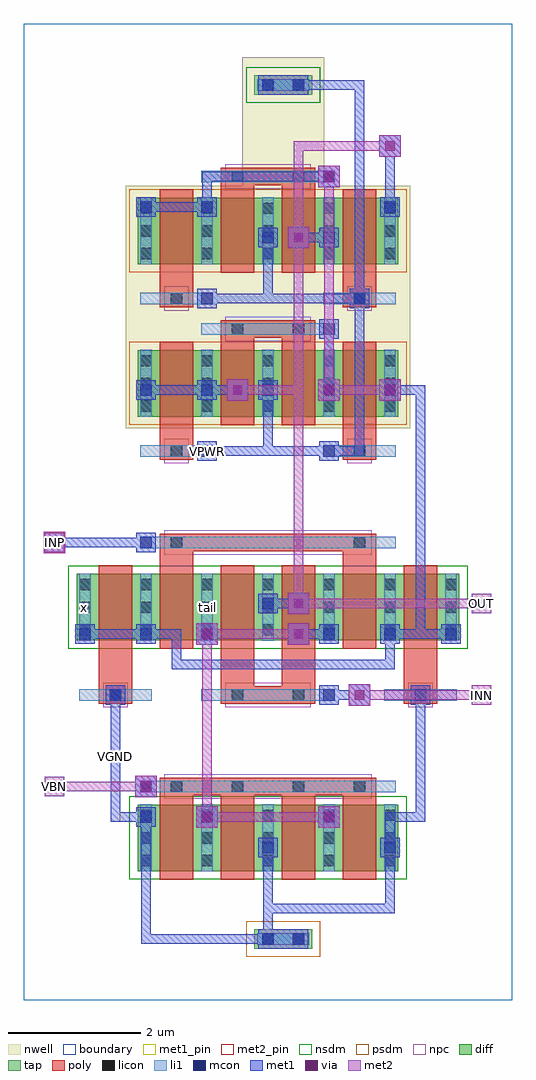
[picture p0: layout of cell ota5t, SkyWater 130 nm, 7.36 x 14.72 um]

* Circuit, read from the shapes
.subckt ota5t INN INP OUT VBN VGND VPWR tail x
XM1 x VGND x VGND sky130_fd_pr__nfet_01v8 w=1 l=0.5 m=2
XM2 tail VBN VGND VGND sky130_fd_pr__nfet_01v8 w=1 l=0.5 m=4
XM3 tail INP x VGND sky130_fd_pr__nfet_01v8 w=1 l=0.5 m=2
XM4 OUT INN tail VGND sky130_fd_pr__nfet_01v8 w=1 l=0.5 m=2
XM5 OUT VPWR OUT VPWR sky130_fd_pr__pfet_01v8 w=1 l=0.5 m=2
XM6 x VPWR x VPWR sky130_fd_pr__pfet_01v8 w=1 l=0.5 m=2
XM7 VPWR x OUT VPWR sky130_fd_pr__pfet_01v8 w=1 l=0.5 m=2
XM8 VPWR x x VPWR sky130_fd_pr__pfet_01v8 w=1 l=0.5 m=2
.ends

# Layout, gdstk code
import gdstk
lib = gdstk.Library(unit=1e-6, precision=1e-09)
def R(c, l, rs):  # rectangles x0, y0, x1, y1
    for r in rs: c.add(gdstk.rectangle(r[:2], r[2:], *l))
def A(c, l, x, y, w, h, nx, ny, dx, dy):  # array of equal rectangles
    R(c, l, [(x+i*dx, y+j*dy, x+i*dx+w, y+j*dy+h) for i in range(nx) for j in range(ny)])
nwell = (64, 20)
diff = (65, 20)
tap = (65, 44)
poly = (66, 20)
licon = (66, 44)
li1 = (67, 20)
mcon = (67, 44)
met1_pin = (68, 16)
met1 = (68, 20)
via = (68, 44)
met2_pin = (69, 16)
met2 = (69, 20)
nsdm = (93, 44)
psdm = (94, 20)
npc = (95, 20)
boundary = (235, 4)

ota5t = lib.new_cell('ota5t')
R(ota5t, nwell, [(1.535,8.62,5.825,12.28), (3.295,12.28,4.525,14.22)])
R(ota5t, diff, [(1.715,1.945,5.645,2.945), (0.795,5.425,6.565,6.425), (1.715,8.8,5.645,9.8), (1.715,11.1,5.645,12.1)])
R(ota5t, tap, [(3.475,0.775,4.345,1.065), (3.475,13.655,4.345,13.945)])
A(ota5t, poly, 2.05, 1.815, 0.5, 1.405, 4, 1, 0.92, 0)
R(ota5t, poly, [(2.05,3.085,5.31,3.355), (1.13,4.465,1.63,4.735), (2.97,4.465,4.39,4.735), (5.73,4.465,6.23,4.735), (1.13,4.6,1.63,6.555), (2.97,4.6,3.47,6.555), (3.89,4.6,4.39,6.555), (5.73,4.6,6.23,6.555), (2.05,5.295,2.55,6.9), (4.81,5.295,5.31,6.9), (2.05,6.765,5.31,7.035), (2.05,8.145,2.55,8.415), (4.81,8.145,5.31,8.415), (2.05,8.28,2.55,9.93), (4.81,8.28,5.31,9.93), (2.97,8.67,3.47,10.12), (3.89,8.67,4.39,10.12), (2.97,9.985,4.39,10.255), (2.05,10.445,2.55,10.715), (4.81,10.445,5.31,10.715), (2.05,10.58,2.55,12.23), (4.81,10.58,5.31,12.23), (2.97,10.97,3.47,12.42), (3.89,10.97,4.39,12.42), (2.97,12.285,4.39,12.555)])
A(ota5t, licon, 1.755, 2.02, 0.17, 0.17, 5, 3, 0.92, 0.34)
A(ota5t, licon, 2.215, 3.135, 0.17, 0.17, 4, 1, 0.92, 0)
A(ota5t, licon, 0.835, 5.5, 0.17, 0.17, 7, 3, 0.92, 0.34)
A(ota5t, licon, 1.755, 8.875, 0.17, 0.17, 5, 3, 0.92, 0.34)
A(ota5t, licon, 1.755, 11.175, 0.17, 0.17, 5, 3, 0.92, 0.34)
R(ota5t, licon, [(3.595,0.835,3.765,1.005), (4.055,0.835,4.225,1.005), (1.295,4.515,1.465,4.685), (3.135,4.515,3.305,4.685), (4.055,4.515,4.225,4.685), (5.895,4.515,6.065,4.685), (2.215,6.815,2.385,6.985), (4.975,6.815,5.145,6.985), (2.215,8.195,2.385,8.365), (4.975,8.195,5.145,8.365), (3.135,10.035,3.305,10.205), (4.055,10.035,4.225,10.205), (2.215,10.495,2.385,10.665), (4.975,10.495,5.145,10.665), (3.135,12.335,3.305,12.505), (4.055,12.335,4.225,12.505), (3.595,13.715,3.765,13.885), (4.055,13.715,4.225,13.885)])
A(ota5t, li1, 1.755, 1.94, 0.17, 1.01, 5, 2, 0.92, 6.855)
A(ota5t, li1, 0.835, 5.42, 0.17, 1.01, 7, 1, 0.92, 0)
A(ota5t, li1, 1.755, 11.095, 0.17, 1.01, 5, 1, 0.92, 0)
R(ota5t, li1, [(3.515,0.835,4.305,1.005), (1.755,3.135,5.605,3.305), (0.835,4.515,1.925,4.685), (2.675,4.515,4.685,4.685), (5.435,4.515,6.525,4.685), (1.755,6.815,5.605,6.985), (1.755,8.195,2.845,8.365), (4.515,8.195,5.605,8.365), (2.675,10.035,4.685,10.205), (1.755,10.495,2.845,10.665), (4.515,10.495,5.605,10.665), (2.675,12.335,4.685,12.505), (3.515,13.715,4.305,13.885)])
A(ota5t, mcon, 0.835, 5.435, 0.17, 0.17, 3, 1, 0.92, 0)
A(ota5t, mcon, 4.515, 5.435, 0.17, 0.17, 3, 1, 0.92, 0)
A(ota5t, mcon, 1.755, 9.115, 0.17, 0.17, 5, 1, 0.92, 0)
R(ota5t, mcon, [(3.595,0.835,3.765,1.005), (4.055,0.835,4.225,1.005), (3.595,2.215,3.765,2.385), (5.435,2.215,5.605,2.385), (1.755,2.675,1.925,2.845), (2.675,2.675,2.845,2.845), (4.515,2.675,4.685,2.845), (1.755,3.135,1.925,3.305), (1.295,4.515,1.465,4.685), (4.515,4.515,4.685,4.685), (5.895,4.515,6.065,4.685), (3.595,5.895,3.765,6.065), (1.755,6.815,1.925,6.985), (2.675,8.195,2.845,8.365), (4.515,8.195,4.685,8.365), (4.515,10.035,4.685,10.205), (2.675,10.495,2.845,10.665), (4.975,10.495,5.145,10.665), (3.595,11.415,3.765,11.585), (4.515,11.415,4.685,11.585), (1.755,11.875,1.925,12.045), (2.675,11.875,2.845,12.045), (5.435,11.875,5.605,12.045), (4.515,12.335,4.685,12.505), (3.595,13.715,3.765,13.885), (4.055,13.715,4.225,13.885)])
R(ota5t, met1_pin, [(1.31,2.69,1.45,4.67), (2.615,8.135,2.905,8.425)])
A(ota5t, met1, 0.775, 5.375, 0.29, 0.29, 3, 1, 0.92, 0)
A(ota5t, met1, 4.455, 5.375, 0.29, 0.29, 3, 1, 0.92, 0)
A(ota5t, met1, 1.695, 9.055, 0.29, 0.29, 5, 1, 0.92, 0)
R(ota5t, met1, [(3.535,0.775,4.285,1.065), (1.77,0.85,1.91,2.83), (1.77,0.85,3.75,0.99), (3.61,0.85,3.75,0.99), (3.61,0.85,3.75,2.37), (3.61,1.31,5.59,1.45), (5.45,1.31,5.59,2.37), (3.535,2.155,3.825,2.445), (5.375,2.155,5.665,2.445), (5.45,2.23,5.59,2.83), (2.6,2.6,2.92,2.92), (4.44,2.6,4.76,2.92), (1.695,2.615,1.985,2.905), (2.615,2.615,2.905,2.905), (4.455,2.615,4.745,2.905), (1.31,2.69,1.91,2.83), (1.31,2.69,1.45,4.67), (5.45,2.69,6.05,2.83), (5.91,2.69,6.05,4.67), (1.68,3.06,2,3.38), (1.695,3.075,1.985,3.365), (4.9,4.44,5.22,4.76), (1.235,4.455,1.525,4.745), (4.455,4.455,4.745,4.745), (5.835,4.455,6.125,4.745), (4.53,4.53,5.13,4.67), (2.23,4.99,2.37,5.59), (2.23,4.99,5.59,5.13), (5.45,4.99,5.59,5.59), (2.6,5.36,2.92,5.68), (3.98,5.36,4.3,5.68), (0.85,5.45,1.91,5.59), (1.77,5.45,2.37,5.59), (4.07,5.45,4.67,5.59), (5.45,5.45,6.51,5.59), (5.91,5.45,6.05,9.27), (3.98,5.82,4.3,6.14), (3.535,5.835,3.825,6.125), (3.61,5.91,4.21,6.05), (0.3,6.74,0.62,7.06), (1.695,6.755,1.985,7.045), (0.39,6.83,1.91,6.97), (2.615,8.135,2.905,8.425), (4.455,8.135,4.745,8.425), (2.69,8.21,3.75,8.35), (3.61,8.21,3.75,9.27), (3.61,8.21,4.67,8.35), (4.53,8.21,5.13,8.35), (4.99,8.21,5.13,10.65), (3.06,9.04,3.38,9.36), (4.44,9.04,4.76,9.36), (5.36,9.04,5.68,9.36), (1.77,9.13,2.83,9.27), (2.69,9.13,3.29,9.27), (4.53,9.13,4.67,10.19), (5.45,9.13,6.05,9.27), (4.455,9.975,4.745,10.265), (2.615,10.435,2.905,10.725), (4.915,10.435,5.205,10.725), (2.69,10.51,5.13,10.65), (3.61,10.51,3.75,11.57), (4.99,10.51,5.13,13.87), (3.98,11.34,4.3,11.66), (3.535,11.355,3.825,11.645), (4.455,11.355,4.745,11.645), (4.07,11.43,4.67,11.57), (1.695,11.815,1.985,12.105), (2.615,11.815,2.905,12.105), (5.375,11.815,5.665,12.105), (1.77,11.89,2.83,12.03), (2.69,11.89,2.83,12.49), (5.45,11.89,5.59,12.95), (4.44,12.26,4.76,12.58), (4.455,12.275,4.745,12.565), (2.69,12.35,4.67,12.49), (5.36,12.72,5.68,13.04), (3.535,13.655,4.285,13.945), (4.07,13.73,4.21,13.87), (4.07,13.73,5.13,13.87)])
R(ota5t, via, [(2.685,2.685,2.835,2.835), (4.525,2.685,4.675,2.835), (1.765,3.145,1.915,3.295), (4.985,4.525,5.135,4.675), (2.685,5.445,2.835,5.595), (4.065,5.445,4.215,5.595), (4.065,5.905,4.215,6.055), (0.385,6.825,0.535,6.975), (3.145,9.125,3.295,9.275), (4.525,9.125,4.675,9.275), (5.445,9.125,5.595,9.275), (4.065,11.425,4.215,11.575), (4.525,12.345,4.675,12.495), (5.445,12.805,5.595,12.955)])
R(ota5t, met2_pin, [(0.31,3.07,0.61,3.37), (6.75,4.45,7.05,4.75), (6.75,5.83,7.05,6.13), (0.31,6.75,0.61,7.05)])
R(ota5t, met2, [(2.6,2.6,2.92,2.92), (4.44,2.6,4.76,2.92), (2.69,2.69,2.83,5.59), (2.69,2.69,4.67,2.83), (1.68,3.06,2,3.38), (0.31,3.07,0.61,3.37), (0.39,3.15,1.91,3.29), (0.39,3.15,0.53,3.29), (4.9,4.44,5.22,4.76), (6.75,4.45,7.05,4.75), (4.99,4.53,6.97,4.67), (6.83,4.53,6.97,4.67), (2.6,5.36,2.92,5.68), (3.98,5.36,4.3,5.68), (2.69,5.45,4.21,5.59), (3.98,5.82,4.3,6.14), (6.75,5.83,7.05,6.13), (4.07,5.91,4.21,9.27), (4.07,5.91,6.97,6.05), (6.83,5.91,6.97,6.05), (0.3,6.74,0.62,7.06), (0.31,6.75,0.61,7.05), (0.39,6.83,0.53,6.97), (3.06,9.04,3.38,9.36), (4.44,9.04,4.76,9.36), (5.36,9.04,5.68,9.36), (3.15,9.13,4.21,9.27), (4.07,9.13,4.21,11.57), (4.53,9.13,5.59,9.27), (4.53,9.13,4.67,12.49), (3.98,11.34,4.3,11.66), (4.07,11.43,4.21,12.95), (4.44,12.26,4.76,12.58), (5.36,12.72,5.68,13.04), (4.07,12.81,5.59,12.95)])
R(ota5t, nsdm, [(1.59,1.82,5.77,3.07), (0.67,5.3,6.69,6.55), (3.35,13.53,4.47,14.07)])
R(ota5t, psdm, [(3.35,0.65,4.47,1.19), (1.59,8.675,5.77,9.925), (1.59,10.975,5.77,12.225)])
R(ota5t, npc, [(2.115,3.035,5.245,3.405), (1.195,4.415,1.565,4.785), (3.035,4.415,4.325,4.785), (5.795,4.415,6.165,4.785), (2.115,6.715,5.245,7.085), (2.115,8.095,2.485,8.465), (4.875,8.095,5.245,8.465), (3.035,9.935,4.325,10.305), (2.115,10.395,2.485,10.765), (4.875,10.395,5.245,10.765), (3.035,12.235,4.325,12.605)])
R(ota5t, boundary, [(0,0,7.36,14.72)])
ota5t.add(gdstk.Label('x', (0.92,5.925), layer=67, texttype=5))
ota5t.add(gdstk.Label('tail', (2.76,5.925), layer=67, texttype=5))
ota5t.add(gdstk.Label('VPWR', (2.76,8.28), layer=68, texttype=5))
ota5t.add(gdstk.Label('VGND', (1.38,3.68), layer=68, texttype=5))
ota5t.add(gdstk.Label('INP', (0.46,6.9), layer=69, texttype=5))
ota5t.add(gdstk.Label('INN', (6.9,4.6), layer=69, texttype=5))
ota5t.add(gdstk.Label('VBN', (0.46,3.22), layer=69, texttype=5))
ota5t.add(gdstk.Label('OUT', (6.9,5.98), layer=69, texttype=5))
ota5t.add(gdstk.Label('VPWR', (2.76,8.28), layer=68, texttype=16))
ota5t.add(gdstk.Label('VGND', (1.38,3.68), layer=68, texttype=16))
ota5t.add(gdstk.Label('INP', (0.46,6.9), layer=69, texttype=16))
ota5t.add(gdstk.Label('INN', (6.9,4.6), layer=69, texttype=16))
ota5t.add(gdstk.Label('VBN', (0.46,3.22), layer=69, texttype=16))
ota5t.add(gdstk.Label('OUT', (6.9,5.98), layer=69, texttype=16))

lib.write_gds('ota5t.gds')
